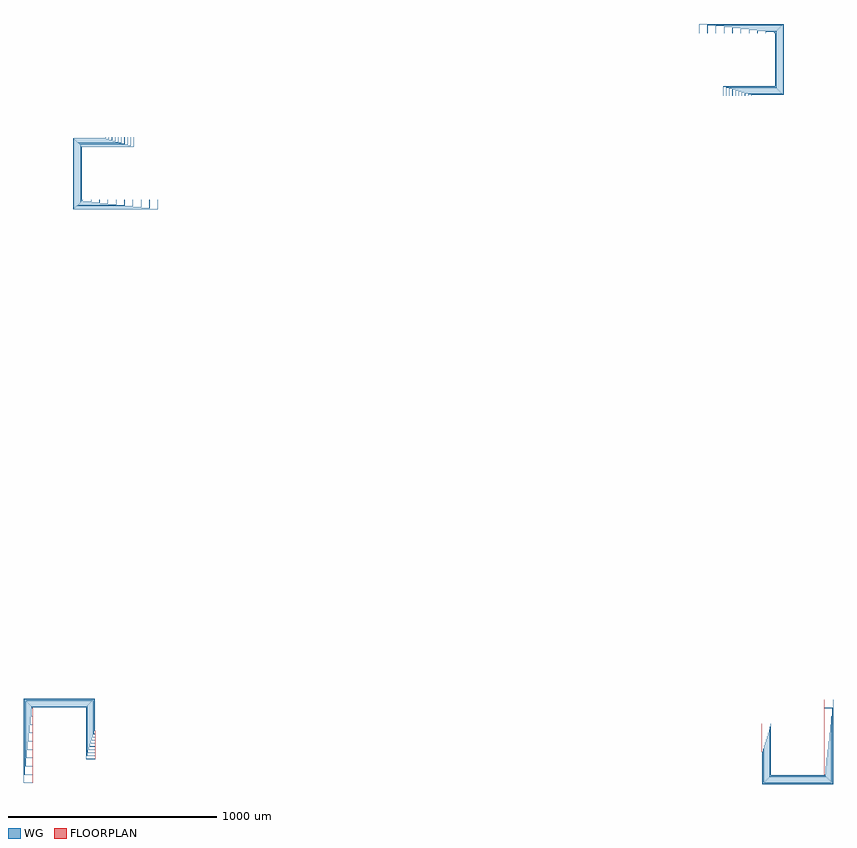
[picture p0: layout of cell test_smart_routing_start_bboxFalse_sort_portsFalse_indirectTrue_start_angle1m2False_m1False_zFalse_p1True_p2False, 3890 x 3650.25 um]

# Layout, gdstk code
import gdstk
lib = gdstk.Library(unit=1e-6, precision=1e-09)
def P(c, l, *ps):  # polygons
    for p in ps: c.add(gdstk.Polygon(p, *l))
WG = (1, 0)
FLOORPLAN = (10, 0)

test_smart_routing_start = lib.new_cell('test_smart_routing_start_bboxFalse_sort_portsFalse_indirectTrue_start_angle1m2False_m1False_zFalse_p1True_p2False')
P(test_smart_routing_start, WG, [(-444.7,-199.95),(-444.7,204.95),(-104.3,204.95),(-104.3,49.95),(-100,49.95),(-100,49.75),(-104.5,49.75),(-104.5,204.75),(-444.5,204.75),(-444.5,-199.75),(-400,-199.75),(-400,-199.95)],
  [(-445,-200.25),(-445,205.25),(-104,205.25),(-104,50.25),(-100,50.25),(-100,50.05),(-104.2,50.05),(-104.2,205.05),(-444.8,205.05),(-444.8,-200.05),(-400,-200.05),(-400,-200.25)],
  [(-440.2,-159.95),(-440.2,200.45),(-108.8,200.45),(-108.8,34.95),(-100,34.95),(-100,34.75),(-109,34.75),(-109,200.25),(-440,200.25),(-440,-159.75),(-400,-159.75),(-400,-159.95)],
  [(-440.5,-160.25),(-440.5,200.75),(-108.5,200.75),(-108.5,35.25),(-100,35.25),(-100,35.05),(-108.7,35.05),(-108.7,200.55),(-440.3,200.55),(-440.3,-160.05),(-400,-160.05),(-400,-160.25)],
  [(-435.7,-119.95),(-435.7,195.95),(-113.3,195.95),(-113.3,19.95),(-100,19.95),(-100,19.75),(-113.5,19.75),(-113.5,195.75),(-435.5,195.75),(-435.5,-119.75),(-400,-119.75),(-400,-119.95)],
  [(-436,-120.25),(-436,196.25),(-113,196.25),(-113,20.25),(-100,20.25),(-100,20.05),(-113.2,20.05),(-113.2,196.05),(-435.8,196.05),(-435.8,-120.05),(-400,-120.05),(-400,-120.25)],
  [(-431.2,-79.95),(-431.2,191.45),(-117.8,191.45),(-117.8,4.95),(-100,4.95),(-100,4.75),(-118,4.75),(-118,191.25),(-431,191.25),(-431,-79.75),(-400,-79.75),(-400,-79.95)],
  [(-431.5,-80.25),(-431.5,191.75),(-117.5,191.75),(-117.5,5.25),(-100,5.25),(-100,5.05),(-117.7,5.05),(-117.7,191.55),(-431.3,191.55),(-431.3,-80.05),(-400,-80.05),(-400,-80.25)],
  [(-426.7,-39.95),(-426.7,186.95),(-122.3,186.95),(-122.3,-10.05),(-100,-10.05),(-100,-10.25),(-122.5,-10.25),(-122.5,186.75),(-426.5,186.75),(-426.5,-39.75),(-400,-39.75),(-400,-39.95)],
  [(-427,-40.25),(-427,187.25),(-122,187.25),(-122,-9.75),(-100,-9.75),(-100,-9.95),(-122.2,-9.95),(-122.2,187.05),(-426.8,187.05),(-426.8,-40.05),(-400,-40.05),(-400,-40.25)],
  [(-127,-25.25),(-127,182.25),(-422,182.25),(-422,0.25),(-400,0.25),(-400,0.05),(-422.2,0.05),(-422.2,182.45),(-126.8,182.45),(-126.8,-25.05),(-100,-25.05),(-100,-25.25)],
  [(-126.7,-24.95),(-126.7,182.55),(-422.3,182.55),(-422.3,-0.05),(-400,-0.05),(-400,-0.25),(-422.5,-0.25),(-422.5,182.75),(-126.5,182.75),(-126.5,-24.75),(-100,-24.75),(-100,-24.95)],
  [(-131.5,-40.25),(-131.5,177.75),(-417.5,177.75),(-417.5,40.25),(-400,40.25),(-400,40.05),(-417.7,40.05),(-417.7,177.95),(-131.3,177.95),(-131.3,-40.05),(-100,-40.05),(-100,-40.25)],
  [(-131.2,-39.95),(-131.2,178.05),(-417.8,178.05),(-417.8,39.95),(-400,39.95),(-400,39.75),(-418,39.75),(-418,178.25),(-131,178.25),(-131,-39.75),(-100,-39.75),(-100,-39.95)],
  [(-136,-55.25),(-136,173.25),(-413,173.25),(-413,80.25),(-400,80.25),(-400,80.05),(-413.2,80.05),(-413.2,173.45),(-135.8,173.45),(-135.8,-55.05),(-100,-55.05),(-100,-55.25)],
  [(-135.7,-54.95),(-135.7,173.55),(-413.3,173.55),(-413.3,79.95),(-400,79.95),(-400,79.75),(-413.5,79.75),(-413.5,173.75),(-135.5,173.75),(-135.5,-54.75),(-100,-54.75),(-100,-54.95)],
  [(-140.5,-70.25),(-140.5,168.75),(-408.5,168.75),(-408.5,120.25),(-400,120.25),(-400,120.05),(-408.7,120.05),(-408.7,168.95),(-140.3,168.95),(-140.3,-70.05),(-100,-70.05),(-100,-70.25)],
  [(-140.2,-69.95),(-140.2,169.05),(-408.8,169.05),(-408.8,119.95),(-400,119.95),(-400,119.75),(-409,119.75),(-409,169.25),(-140,169.25),(-140,-69.75),(-100,-69.75),(-100,-69.95)],
  [(-145,-85.25),(-145,164.25),(-404,164.25),(-404,160.25),(-400,160.25),(-400,160.05),(-404.2,160.05),(-404.2,164.45),(-144.8,164.45),(-144.8,-85.05),(-100,-85.05),(-100,-85.25)],
  [(-144.7,-84.95),(-144.7,164.55),(-404.3,164.55),(-404.3,159.95),(-400,159.95),(-400,159.75),(-404.5,159.75),(-404.5,164.75),(-144.5,164.75),(-144.5,-84.75),(-100,-84.75),(-100,-84.95)],
  [(-205.25,2555),(-205.25,2896),(-50.25,2896),(-50.25,2900),(-50.05,2900),(-50.05,2895.8),(-205.05,2895.8),(-205.05,2555.2),(200.05,2555.2),(200.05,2600),(200.25,2600),(200.25,2555)],
  [(-204.95,2555.3),(-204.95,2895.7),(-49.95,2895.7),(-49.95,2900),(-49.75,2900),(-49.75,2895.5),(-204.75,2895.5),(-204.75,2555.5),(199.75,2555.5),(199.75,2600),(199.95,2600),(199.95,2555.3)],
  [(-200.75,2559.5),(-200.75,2891.5),(-35.25,2891.5),(-35.25,2900),(-35.05,2900),(-35.05,2891.3),(-200.55,2891.3),(-200.55,2559.7),(160.05,2559.7),(160.05,2600),(160.25,2600),(160.25,2559.5)],
  [(-200.45,2559.8),(-200.45,2891.2),(-34.95,2891.2),(-34.95,2900),(-34.75,2900),(-34.75,2891),(-200.25,2891),(-200.25,2560),(159.75,2560),(159.75,2600),(159.95,2600),(159.95,2559.8)],
  [(-196.25,2564),(-196.25,2887),(-20.25,2887),(-20.25,2900),(-20.05,2900),(-20.05,2886.8),(-196.05,2886.8),(-196.05,2564.2),(120.05,2564.2),(120.05,2600),(120.25,2600),(120.25,2564)],
  [(-195.95,2564.3),(-195.95,2886.7),(-19.95,2886.7),(-19.95,2900),(-19.75,2900),(-19.75,2886.5),(-195.75,2886.5),(-195.75,2564.5),(119.75,2564.5),(119.75,2600),(119.95,2600),(119.95,2564.3)],
  [(-191.75,2568.5),(-191.75,2882.5),(-5.25,2882.5),(-5.25,2900),(-5.05,2900),(-5.05,2882.3),(-191.55,2882.3),(-191.55,2568.7),(80.05,2568.7),(80.05,2600),(80.25,2600),(80.25,2568.5)],
  [(-191.45,2568.8),(-191.45,2882.2),(-4.95,2882.2),(-4.95,2900),(-4.75,2900),(-4.75,2882),(-191.25,2882),(-191.25,2569),(79.75,2569),(79.75,2600),(79.95,2600),(79.95,2568.8)],
  [(-187.25,2573),(-187.25,2878),(9.75,2878),(9.75,2900),(9.95,2900),(9.95,2877.8),(-187.05,2877.8),(-187.05,2573.2),(40.05,2573.2),(40.05,2600),(40.25,2600),(40.25,2573)],
  [(-186.95,2573.3),(-186.95,2877.7),(10.05,2877.7),(10.05,2900),(10.25,2900),(10.25,2877.5),(-186.75,2877.5),(-186.75,2573.5),(39.75,2573.5),(39.75,2600),(39.95,2600),(39.95,2573.3)],
  [(-182.75,2577.5),(-182.75,2873.5),(24.75,2873.5),(24.75,2900),(24.95,2900),(24.95,2873.3),(-182.55,2873.3),(-182.55,2577.7),(0.05,2577.7),(0.05,2600),(0.25,2600),(0.25,2577.5)],
  [(-182.45,2577.8),(-182.45,2873.2),(25.05,2873.2),(25.05,2900),(25.25,2900),(25.25,2873),(-182.25,2873),(-182.25,2578),(-0.25,2578),(-0.25,2600),(-0.05,2600),(-0.05,2577.8)],
  [(-178.25,2582),(-178.25,2869),(39.75,2869),(39.75,2900),(39.95,2900),(39.95,2868.8),(-178.05,2868.8),(-178.05,2582.2),(-39.95,2582.2),(-39.95,2600),(-39.75,2600),(-39.75,2582)],
  [(-177.95,2582.3),(-177.95,2868.7),(40.05,2868.7),(40.05,2900),(40.25,2900),(40.25,2868.5),(-177.75,2868.5),(-177.75,2582.5),(-40.25,2582.5),(-40.25,2600),(-40.05,2600),(-40.05,2582.3)],
  [(-173.75,2586.5),(-173.75,2864.5),(54.75,2864.5),(54.75,2900),(54.95,2900),(54.95,2864.3),(-173.55,2864.3),(-173.55,2586.7),(-79.95,2586.7),(-79.95,2600),(-79.75,2600),(-79.75,2586.5)],
  [(-173.45,2586.8),(-173.45,2864.2),(55.05,2864.2),(55.05,2900),(55.25,2900),(55.25,2864),(-173.25,2864),(-173.25,2587),(-80.25,2587),(-80.25,2600),(-80.05,2600),(-80.05,2586.8)],
  [(-169.25,2591),(-169.25,2860),(69.75,2860),(69.75,2900),(69.95,2900),(69.95,2859.8),(-169.05,2859.8),(-169.05,2591.2),(-119.95,2591.2),(-119.95,2600),(-119.75,2600),(-119.75,2591)],
  [(-168.95,2591.3),(-168.95,2859.7),(70.05,2859.7),(70.05,2900),(70.25,2900),(70.25,2859.5),(-168.75,2859.5),(-168.75,2591.5),(-120.25,2591.5),(-120.25,2600),(-120.05,2600),(-120.05,2591.3)],
  [(-164.75,2595.5),(-164.75,2855.5),(84.75,2855.5),(84.75,2900),(84.95,2900),(84.95,2855.3),(-164.55,2855.3),(-164.55,2595.7),(-159.95,2595.7),(-159.95,2600),(-159.75,2600),(-159.75,2595.5)],
  [(-164.45,2595.8),(-164.45,2855.2),(85.05,2855.2),(85.05,2900),(85.25,2900),(85.25,2855),(-164.25,2855),(-164.25,2596),(-160.25,2596),(-160.25,2600),(-160.05,2600),(-160.05,2595.8)],
  [(3104.3,-204.95),(3104.3,-49.95),(3100,-49.95),(3100,-49.75),(3104.5,-49.75),(3104.5,-204.75),(3444.5,-204.75),(3444.5,199.75),(3400,199.75),(3400,199.95),(3444.7,199.95),(3444.7,-204.95)],
  [(3104,-205.25),(3104,-50.25),(3100,-50.25),(3100,-50.05),(3104.2,-50.05),(3104.2,-205.05),(3444.8,-205.05),(3444.8,200.05),(3400,200.05),(3400,200.25),(3445,200.25),(3445,-205.25)],
  [(3108.8,-200.45),(3108.8,-34.95),(3100,-34.95),(3100,-34.75),(3109,-34.75),(3109,-200.25),(3440,-200.25),(3440,159.75),(3400,159.75),(3400,159.95),(3440.2,159.95),(3440.2,-200.45)],
  [(3108.5,-200.75),(3108.5,-35.25),(3100,-35.25),(3100,-35.05),(3108.7,-35.05),(3108.7,-200.55),(3440.3,-200.55),(3440.3,160.05),(3400,160.05),(3400,160.25),(3440.5,160.25),(3440.5,-200.75)],
  [(3113.3,-195.95),(3113.3,-19.95),(3100,-19.95),(3100,-19.75),(3113.5,-19.75),(3113.5,-195.75),(3435.5,-195.75),(3435.5,119.75),(3400,119.75),(3400,119.95),(3435.7,119.95),(3435.7,-195.95)],
  [(3113,-196.25),(3113,-20.25),(3100,-20.25),(3100,-20.05),(3113.2,-20.05),(3113.2,-196.05),(3435.8,-196.05),(3435.8,120.05),(3400,120.05),(3400,120.25),(3436,120.25),(3436,-196.25)],
  [(3117.8,-191.45),(3117.8,-4.95),(3100,-4.95),(3100,-4.75),(3118,-4.75),(3118,-191.25),(3431,-191.25),(3431,79.75),(3400,79.75),(3400,79.95),(3431.2,79.95),(3431.2,-191.45)],
  [(3117.5,-191.75),(3117.5,-5.25),(3100,-5.25),(3100,-5.05),(3117.7,-5.05),(3117.7,-191.55),(3431.3,-191.55),(3431.3,80.05),(3400,80.05),(3400,80.25),(3431.5,80.25),(3431.5,-191.75)],
  [(3122.3,-186.95),(3122.3,10.05),(3100,10.05),(3100,10.25),(3122.5,10.25),(3122.5,-186.75),(3426.5,-186.75),(3426.5,39.75),(3400,39.75),(3400,39.95),(3426.7,39.95),(3426.7,-186.95)],
  [(3122,-187.25),(3122,9.75),(3100,9.75),(3100,9.95),(3122.2,9.95),(3122.2,-187.05),(3426.8,-187.05),(3426.8,40.05),(3400,40.05),(3400,40.25),(3427,40.25),(3427,-187.25)],
  [(3126.5,-182.75),(3126.5,24.75),(3100,24.75),(3100,24.95),(3126.7,24.95),(3126.7,-182.55),(3422.3,-182.55),(3422.3,0.05),(3400,0.05),(3400,0.25),(3422.5,0.25),(3422.5,-182.75)],
  [(3126.8,-182.45),(3126.8,25.05),(3100,25.05),(3100,25.25),(3127,25.25),(3127,-182.25),(3422,-182.25),(3422,-0.25),(3400,-0.25),(3400,-0.05),(3422.2,-0.05),(3422.2,-182.45)],
  [(3131,-178.25),(3131,39.75),(3100,39.75),(3100,39.95),(3131.2,39.95),(3131.2,-178.05),(3417.8,-178.05),(3417.8,-39.95),(3400,-39.95),(3400,-39.75),(3418,-39.75),(3418,-178.25)],
  [(3131.3,-177.95),(3131.3,40.05),(3100,40.05),(3100,40.25),(3131.5,40.25),(3131.5,-177.75),(3417.5,-177.75),(3417.5,-40.25),(3400,-40.25),(3400,-40.05),(3417.7,-40.05),(3417.7,-177.95)],
  [(3135.5,-173.75),(3135.5,54.75),(3100,54.75),(3100,54.95),(3135.7,54.95),(3135.7,-173.55),(3413.3,-173.55),(3413.3,-79.95),(3400,-79.95),(3400,-79.75),(3413.5,-79.75),(3413.5,-173.75)],
  [(3135.8,-173.45),(3135.8,55.05),(3100,55.05),(3100,55.25),(3136,55.25),(3136,-173.25),(3413,-173.25),(3413,-80.25),(3400,-80.25),(3400,-80.05),(3413.2,-80.05),(3413.2,-173.45)],
  [(3140,-169.25),(3140,69.75),(3100,69.75),(3100,69.95),(3140.2,69.95),(3140.2,-169.05),(3408.8,-169.05),(3408.8,-119.95),(3400,-119.95),(3400,-119.75),(3409,-119.75),(3409,-169.25)],
  [(3140.3,-168.95),(3140.3,70.05),(3100,70.05),(3100,70.25),(3140.5,70.25),(3140.5,-168.75),(3408.5,-168.75),(3408.5,-120.25),(3400,-120.25),(3400,-120.05),(3408.7,-120.05),(3408.7,-168.95)],
  [(3144.5,-164.75),(3144.5,84.75),(3100,84.75),(3100,84.95),(3144.7,84.95),(3144.7,-164.55),(3404.3,-164.55),(3404.3,-159.95),(3400,-159.95),(3400,-159.75),(3404.5,-159.75),(3404.5,-164.75)],
  [(3144.8,-164.45),(3144.8,85.05),(3100,85.05),(3100,85.25),(3145,85.25),(3145,-164.25),(3404,-164.25),(3404,-160.25),(3400,-160.25),(3400,-160.05),(3404.2,-160.05),(3404.2,-164.45)],
  [(3049.75,3100),(3049.75,3104.5),(3204.75,3104.5),(3204.75,3444.5),(2800.25,3444.5),(2800.25,3400),(2800.05,3400),(2800.05,3444.7),(3204.95,3444.7),(3204.95,3104.3),(3049.95,3104.3),(3049.95,3100)],
  [(3050.05,3100),(3050.05,3104.2),(3205.05,3104.2),(3205.05,3444.8),(2799.95,3444.8),(2799.95,3400),(2799.75,3400),(2799.75,3445),(3205.25,3445),(3205.25,3104),(3050.25,3104),(3050.25,3100)],
  [(3034.75,3100),(3034.75,3109),(3200.25,3109),(3200.25,3440),(2840.25,3440),(2840.25,3400),(2840.05,3400),(2840.05,3440.2),(3200.45,3440.2),(3200.45,3108.8),(3034.95,3108.8),(3034.95,3100)],
  [(3035.05,3100),(3035.05,3108.7),(3200.55,3108.7),(3200.55,3440.3),(2839.95,3440.3),(2839.95,3400),(2839.75,3400),(2839.75,3440.5),(3200.75,3440.5),(3200.75,3108.5),(3035.25,3108.5),(3035.25,3100)],
  [(3019.75,3100),(3019.75,3113.5),(3195.75,3113.5),(3195.75,3435.5),(2880.25,3435.5),(2880.25,3400),(2880.05,3400),(2880.05,3435.7),(3195.95,3435.7),(3195.95,3113.3),(3019.95,3113.3),(3019.95,3100)],
  [(3020.05,3100),(3020.05,3113.2),(3196.05,3113.2),(3196.05,3435.8),(2879.95,3435.8),(2879.95,3400),(2879.75,3400),(2879.75,3436),(3196.25,3436),(3196.25,3113),(3020.25,3113),(3020.25,3100)],
  [(3004.75,3100),(3004.75,3118),(3191.25,3118),(3191.25,3431),(2920.25,3431),(2920.25,3400),(2920.05,3400),(2920.05,3431.2),(3191.45,3431.2),(3191.45,3117.8),(3004.95,3117.8),(3004.95,3100)],
  [(3005.05,3100),(3005.05,3117.7),(3191.55,3117.7),(3191.55,3431.3),(2919.95,3431.3),(2919.95,3400),(2919.75,3400),(2919.75,3431.5),(3191.75,3431.5),(3191.75,3117.5),(3005.25,3117.5),(3005.25,3100)],
  [(2989.75,3100),(2989.75,3122.5),(3186.75,3122.5),(3186.75,3426.5),(2960.25,3426.5),(2960.25,3400),(2960.05,3400),(2960.05,3426.7),(3186.95,3426.7),(3186.95,3122.3),(2989.95,3122.3),(2989.95,3100)],
  [(2990.05,3100),(2990.05,3122.2),(3187.05,3122.2),(3187.05,3426.8),(2959.95,3426.8),(2959.95,3400),(2959.75,3400),(2959.75,3427),(3187.25,3427),(3187.25,3122),(2990.25,3122),(2990.25,3100)],
  [(2974.75,3100),(2974.75,3127),(3182.25,3127),(3182.25,3422),(3000.25,3422),(3000.25,3400),(3000.05,3400),(3000.05,3422.2),(3182.45,3422.2),(3182.45,3126.8),(2974.95,3126.8),(2974.95,3100)],
  [(2975.05,3100),(2975.05,3126.7),(3182.55,3126.7),(3182.55,3422.3),(2999.95,3422.3),(2999.95,3400),(2999.75,3400),(2999.75,3422.5),(3182.75,3422.5),(3182.75,3126.5),(2975.25,3126.5),(2975.25,3100)],
  [(2959.75,3100),(2959.75,3131.5),(3177.75,3131.5),(3177.75,3417.5),(3040.25,3417.5),(3040.25,3400),(3040.05,3400),(3040.05,3417.7),(3177.95,3417.7),(3177.95,3131.3),(2959.95,3131.3),(2959.95,3100)],
  [(2960.05,3100),(2960.05,3131.2),(3178.05,3131.2),(3178.05,3417.8),(3039.95,3417.8),(3039.95,3400),(3039.75,3400),(3039.75,3418),(3178.25,3418),(3178.25,3131),(2960.25,3131),(2960.25,3100)],
  [(2944.75,3100),(2944.75,3136),(3173.25,3136),(3173.25,3413),(3080.25,3413),(3080.25,3400),(3080.05,3400),(3080.05,3413.2),(3173.45,3413.2),(3173.45,3135.8),(2944.95,3135.8),(2944.95,3100)],
  [(2945.05,3100),(2945.05,3135.7),(3173.55,3135.7),(3173.55,3413.3),(3079.95,3413.3),(3079.95,3400),(3079.75,3400),(3079.75,3413.5),(3173.75,3413.5),(3173.75,3135.5),(2945.25,3135.5),(2945.25,3100)],
  [(2929.75,3100),(2929.75,3140.5),(3168.75,3140.5),(3168.75,3408.5),(3120.25,3408.5),(3120.25,3400),(3120.05,3400),(3120.05,3408.7),(3168.95,3408.7),(3168.95,3140.3),(2929.95,3140.3),(2929.95,3100)],
  [(2930.05,3100),(2930.05,3140.2),(3169.05,3140.2),(3169.05,3408.8),(3119.95,3408.8),(3119.95,3400),(3119.75,3400),(3119.75,3409),(3169.25,3409),(3169.25,3140),(2930.25,3140),(2930.25,3100)],
  [(2914.75,3100),(2914.75,3145),(3164.25,3145),(3164.25,3404),(3160.25,3404),(3160.25,3400),(3160.05,3400),(3160.05,3404.2),(3164.45,3404.2),(3164.45,3144.8),(2914.95,3144.8),(2914.95,3100)],
  [(2915.05,3100),(2915.05,3144.7),(3164.55,3144.7),(3164.55,3404.3),(3159.95,3404.3),(3159.95,3400),(3159.75,3400),(3159.75,3404.5),(3164.75,3404.5),(3164.75,3144.5),(2915.25,3144.5),(2915.25,3100)])
P(test_smart_routing_start, FLOORPLAN, [(-100,-85),(-100,50),(-100,50),(-100,-85)],
  [(-50,2900),(-50,2900),(85,2900),(85,2900)],
  [(3100,-50),(3100,85),(3100,85),(3100,-50)],
  [(2915,3100),(2915,3100),(3050,3100),(3050,3100)],
  [(-400,-200),(-400,160),(-400,160),(-400,-200)],
  [(-160,2600),(-160,2600),(200,2600),(200,2600)],
  [(3400,-160),(3400,200),(3400,200),(3400,-160)],
  [(2800,3400),(2800,3400),(3160,3400),(3160,3400)])

lib.write_gds('test_smart_routing_start_bboxFalse_sort_portsFalse_indirectTrue_start_angle1m2False_m1False_zFalse_p1True_p2False.gds')
